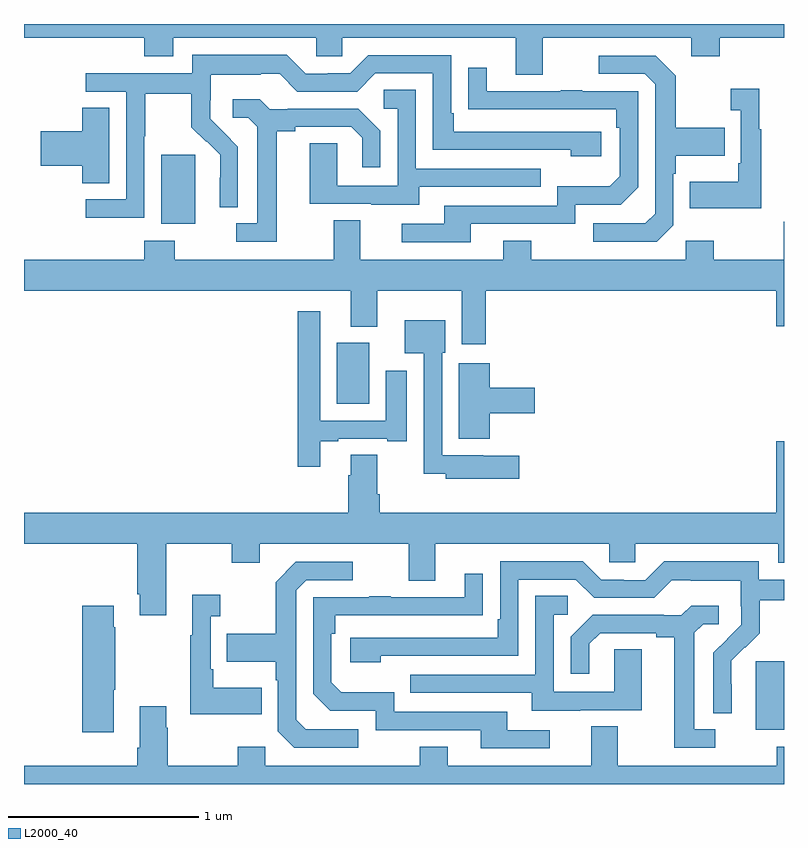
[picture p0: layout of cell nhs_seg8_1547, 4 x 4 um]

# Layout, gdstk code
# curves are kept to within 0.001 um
import gdstk
lib = gdstk.Library(unit=1e-6, precision=1e-09)
def R(c, l, rs):  # rectangles x0, y0, x1, y1
    for r in rs: c.add(gdstk.rectangle(r[:2], r[2:], *l))
def P(c, l, *ps):  # polygons
    for p in ps: c.add(gdstk.Polygon(p, *l))
L2000_40 = (2000, 40)

nhs_seg8_1547 = lib.new_cell('nhs_seg8_1547')
R(nhs_seg8_1547, L2000_40, [(212.852,1118.186,213,1118.547), (210.647,1119.902,210.817,1120.222), (209.723,1120.85,209.902,1121.211)])
P(nhs_seg8_1547, L2000_40, [(211.729,1121.828),(212.513,1121.828),(212.513,1121.729),(212.661,1121.729),(212.661,1121.828),(213,1121.828),(213,1121.9),(209,1121.9),(209,1121.828),(209.633,1121.828),(209.633,1121.729),(209.785,1121.729),(209.785,1121.828),(210.537,1121.828),(210.537,1121.73),(210.675,1121.73),(210.675,1121.828),(211.589,1121.828),(211.589,1121.634),(211.729,1121.634)],
  [(209.634,1121.308),(209.637,1121.308),(209.637,1121.532),(209.881,1121.532),(209.881,1121.357),(209.958,1121.28),(209.961,1121.283),(210.032,1121.213),(210.032,1121.09),(210.03,1121.09),(210.03,1120.936),(210.126,1120.936),(210.126,1121.254),(209.98,1121.402),(209.98,1121.499),(209.982,1121.499),(209.982,1121.633),(210.245,1121.633),(210.245,1121.637),(210.345,1121.637),(210.438,1121.544),(210.753,1121.544),(210.849,1121.64),(211.152,1121.64),(211.152,1121.238),(211.877,1121.238),(211.877,1121.204),(212.038,1121.204),(212.038,1121.334),(211.261,1121.334),(211.261,1121.431),(211.248,1121.431),(211.248,1121.736),(210.813,1121.736),(210.717,1121.64),(210.599,1121.64),(210.599,1121.637),(210.483,1121.637),(210.383,1121.737),(209.886,1121.737),(209.886,1121.64),(209.325,1121.64),(209.325,1121.544),(209.538,1121.544),(209.538,1120.977),(209.325,1120.977),(209.325,1120.879),(209.634,1120.879)],
  [(212.418,1120.842),(212.418,1121.111),(212.431,1121.111),(212.431,1121.207),(212.687,1121.207),(212.687,1121.355),(212.431,1121.355),(212.431,1121.627),(212.325,1121.733),(212.025,1121.733),(212.025,1121.637),(212.268,1121.637),(212.322,1121.583),(212.322,1120.902),(212.271,1120.851),(211.995,1120.851),(211.995,1120.755),(212.331,1120.755)],
  [(211.351,1120.848),(211.902,1120.848),(211.902,1120.95),(212.142,1120.95),(212.232,1121.04),(212.232,1121.547),(211.937,1121.547),(211.937,1121.552),(211.825,1121.552),(211.825,1121.547),(211.435,1121.547),(211.435,1121.671),(211.339,1121.671),(211.339,1121.452),(212.116,1121.451),(212.116,1121.354),(212.136,1121.354),(212.136,1121.1),(212.083,1121.047),(211.806,1121.047),(211.806,1120.944),(211.211,1120.944),(211.211,1120.848),(210.987,1120.848),(210.987,1120.752),(211.351,1120.752)],
  [(212.881,1121.347),(212.869,1121.347),(212.869,1121.56),(212.721,1121.56),(212.721,1121.447),(212.772,1121.447),(212.772,1121.167),(212.76,1121.167),(212.76,1121.071),(212.503,1121.071),(212.503,1120.931),(212.881,1120.931)],
  [(211.081,1121.043),(211.721,1121.043),(211.721,1121.139),(211.062,1121.139),(211.062,1121.555),(210.894,1121.555),(210.894,1121.454),(210.966,1121.454),(210.966,1121.049),(210.648,1121.049),(210.648,1121.273),(210.503,1121.273),(210.503,1120.953),(210.827,1120.953),(210.827,1120.949),(211.081,1120.949)],
  [(210.331,1121.336),(210.427,1121.336),(210.427,1121.358),(210.722,1121.358),(210.779,1121.301),(210.779,1121.145),(210.876,1121.145),(210.876,1121.338),(210.76,1121.454),(210.388,1121.454),(210.388,1121.451),(210.294,1121.451),(210.242,1121.503),(210.099,1121.503),(210.099,1121.406),(210.18,1121.406),(210.227,1121.359),(210.227,1120.851),(210.117,1120.851),(210.117,1120.755),(210.331,1120.755)],
  [(209.449,1121.459),(209.306,1121.459),(209.306,1121.336),(209.088,1121.336),(209.088,1121.153),(209.306,1121.153),(209.306,1121.062),(209.449,1121.062)],
  [(211.43,1120.496),(212.96,1120.496),(212.96,1120.308),(213,1120.308),(213,1120.859),(212.998,1120.859),(212.998,1120.66),(212.631,1120.66),(212.631,1120.759),(212.484,1120.759),(212.484,1120.66),(211.671,1120.66),(211.671,1120.759),(211.523,1120.759),(211.523,1120.66),(210.769,1120.66),(210.769,1120.868),(210.629,1120.868),(210.629,1120.66),(209.793,1120.66),(209.793,1120.759),(209.633,1120.759),(209.633,1120.66),(209,1120.66),(209,1120.496),(210.719,1120.496),(210.719,1120.307),(210.859,1120.307),(210.859,1120.496),(211.304,1120.496),(211.304,1120.215),(211.43,1120.215)],
  [(210.559,1119.705),(210.655,1119.705),(210.655,1119.717),(210.911,1119.717),(210.911,1119.705),(211.015,1119.705),(211.015,1120.075),(210.905,1120.075),(210.905,1119.813),(210.558,1119.813),(210.558,1120.387),(210.442,1120.387),(210.442,1119.57),(210.559,1119.57)],
  [(211.606,1119.628),(211.416,1119.628),(211.416,1119.63),(211.2,1119.63),(211.2,1120.17),(211.216,1120.17),(211.216,1120.342),(211.004,1120.342),(211.004,1120.166),(211.104,1120.166),(211.104,1119.533),(211.221,1119.533),(211.221,1119.506),(211.606,1119.506)],
  [(211.451,1119.851),(211.687,1119.851),(211.687,1119.986),(211.451,1119.986),(211.451,1120.114),(211.289,1120.114),(211.289,1119.716),(211.451,1119.716)],
  [(209.749,1119.164),(210.094,1119.164),(210.094,1119.065),(210.241,1119.065),(210.241,1119.164),(211.025,1119.164),(211.025,1118.97),(211.165,1118.97),(211.165,1119.164),(212.079,1119.164),(212.079,1119.066),(212.217,1119.066),(212.217,1119.164),(212.969,1119.164),(212.969,1119.065),(213,1119.065),(213,1119.703),(212.96,1119.703),(212.96,1119.328),(210.872,1119.328),(210.872,1119.424),(210.859,1119.424),(210.859,1119.632),(210.719,1119.632),(210.719,1119.524),(210.707,1119.524),(210.707,1119.328),(209,1119.328),(209,1119.164),(209.597,1119.164),(209.597,1118.899),(209.609,1118.899),(209.609,1118.787),(209.749,1118.787)],
  [(212.724,1118.426),(212.723,1118.549),(212.793,1118.619),(212.796,1118.616),(212.873,1118.693),(212.873,1118.868),(213,1118.868),(213,1118.976),(212.868,1118.976),(212.868,1119.073),(212.371,1119.073),(212.271,1118.973),(212.156,1118.973),(212.156,1118.976),(212.037,1118.976),(211.941,1119.072),(211.506,1119.072),(211.506,1118.767),(211.493,1118.767),(211.493,1118.67),(210.717,1118.67),(210.717,1118.54),(210.878,1118.54),(210.878,1118.574),(211.602,1118.574),(211.602,1118.976),(211.905,1118.976),(212.001,1118.88),(212.316,1118.88),(212.409,1118.973),(212.509,1118.973),(212.509,1118.969),(212.772,1118.969),(212.772,1118.835),(212.774,1118.835),(212.774,1118.738),(212.628,1118.59),(212.628,1118.272),(212.724,1118.272)],
  [(210.76,1118.187),(210.483,1118.187),(210.432,1118.238),(210.432,1118.919),(210.486,1118.973),(210.73,1118.973),(210.73,1119.069),(210.429,1119.069),(210.324,1118.963),(210.324,1118.691),(210.067,1118.691),(210.067,1118.543),(210.324,1118.543),(210.324,1118.447),(210.336,1118.447),(210.336,1118.178),(210.423,1118.091),(210.76,1118.091)],
  [(211.768,1118.184),(211.543,1118.184),(211.543,1118.28),(210.948,1118.28),(210.948,1118.383),(210.671,1118.383),(210.618,1118.436),(210.618,1118.69),(210.638,1118.69),(210.638,1118.787),(211.415,1118.788),(211.415,1119.007),(211.319,1119.007),(211.319,1118.883),(210.929,1118.883),(210.929,1118.888),(210.817,1118.888),(210.817,1118.883),(210.522,1118.883),(210.522,1118.376),(210.612,1118.286),(210.852,1118.286),(210.852,1118.184),(211.403,1118.184),(211.403,1118.088),(211.768,1118.088)],
  [(210.251,1118.407),(209.995,1118.407),(209.995,1118.503),(209.982,1118.503),(209.982,1118.783),(210.034,1118.783),(210.034,1118.896),(209.885,1118.896),(209.885,1118.683),(209.874,1118.683),(209.874,1118.267),(210.251,1118.267)],
  [(211.927,1118.289),(212.251,1118.289),(212.251,1118.609),(212.106,1118.609),(212.106,1118.385),(211.788,1118.385),(211.788,1118.79),(211.861,1118.79),(211.861,1118.891),(211.692,1118.891),(211.692,1118.475),(211.033,1118.475),(211.033,1118.379),(211.673,1118.379),(211.673,1118.285),(211.927,1118.285)],
  [(209.473,1118.395),(209.481,1118.395),(209.481,1118.726),(209.473,1118.726),(209.473,1118.839),(209.306,1118.839),(209.306,1118.172),(209.473,1118.172)],
  [(212.638,1118.187),(212.527,1118.187),(212.527,1118.695),(212.574,1118.742),(212.656,1118.742),(212.656,1118.839),(212.512,1118.839),(212.46,1118.787),(212.366,1118.787),(212.366,1118.79),(211.994,1118.79),(211.878,1118.674),(211.878,1118.481),(211.975,1118.481),(211.975,1118.637),(212.032,1118.694),(212.327,1118.694),(212.327,1118.672),(212.423,1118.672),(212.423,1118.091),(212.638,1118.091)],
  [(213,1118.095),(212.962,1118.095),(212.962,1117.996),(212.125,1117.996),(212.125,1118.204),(211.985,1118.204),(211.985,1117.996),(211.231,1117.996),(211.231,1118.095),(211.084,1118.095),(211.084,1117.996),(210.27,1117.996),(210.27,1118.095),(210.124,1118.095),(210.124,1117.996),(209.757,1117.996),(209.757,1118.195),(209.749,1118.195),(209.749,1118.308),(209.609,1118.308),(209.609,1118.092),(209.597,1118.092),(209.597,1117.996),(209,1117.996),(209,1117.9),(213,1117.9)])

lib.write_gds('nhs_seg8_1547.gds')
